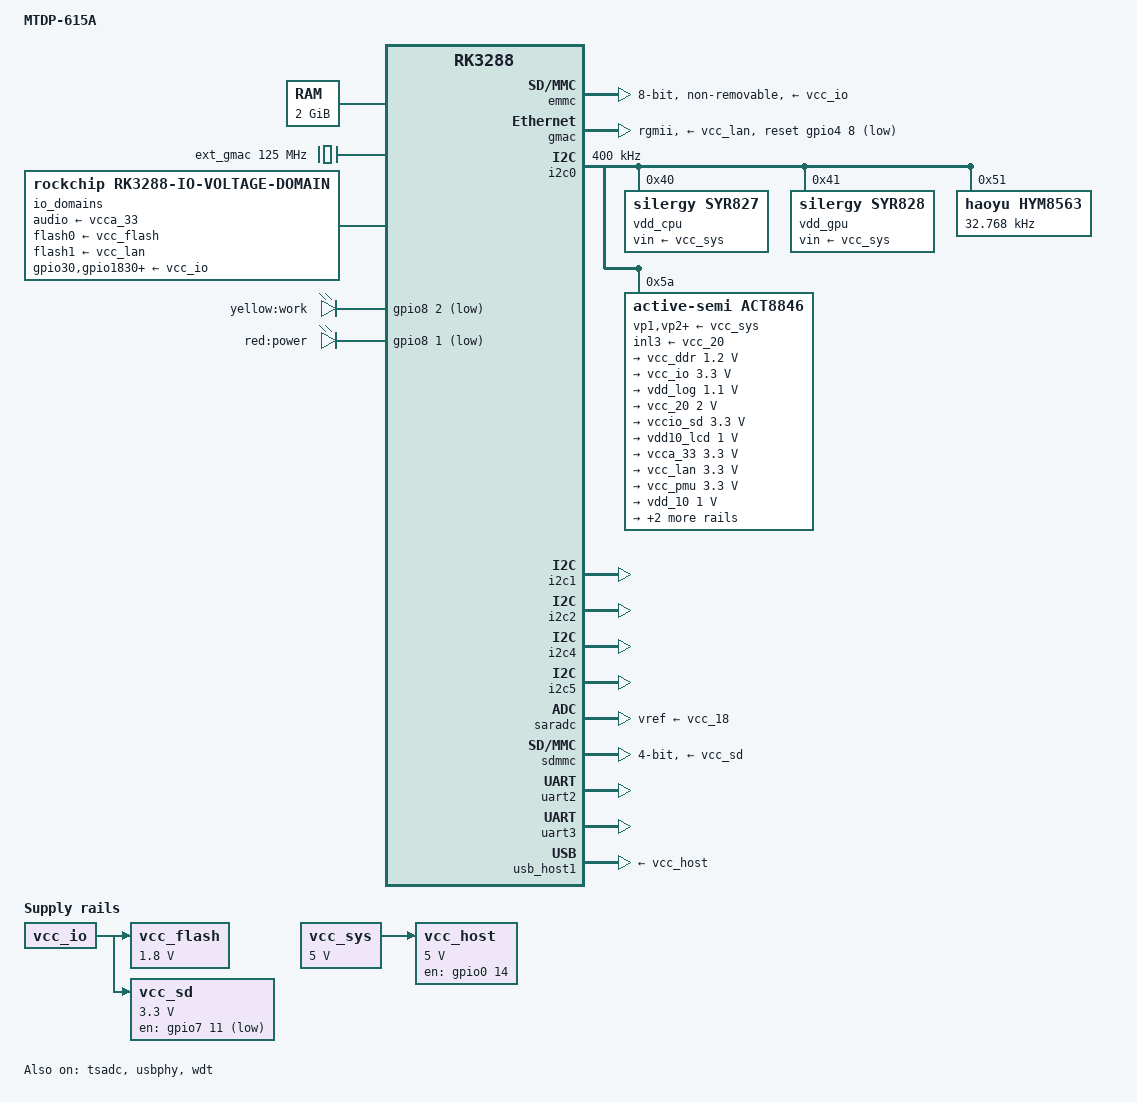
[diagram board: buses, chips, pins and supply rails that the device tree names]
// SPDX-License-Identifier: GPL-2.0+ OR X11

/dts-v1/;
#include "rk3288.dtsi"

/ {
	model = "MTDP-615A";
	compatible = "rockchip,rk3288";

	chosen {
		stdout-path = &uart2;
	};

	memory {
		reg = <0 0x80000000>;
	};

	ext_gmac: external-gmac-clock {
		compatible = "fixed-clock";
		#clock-cells = <0>;
		clock-frequency = <125000000>;
		clock-output-names = "ext_gmac";
	};

	io_domains: io-domains {
		compatible = "rockchip,rk3288-io-voltage-domain";
		rockchip,grf = <&grf>;

		audio-supply = <&vcca_33>;
		flash0-supply = <&vcc_flash>;
		flash1-supply = <&vcc_lan>;
		gpio30-supply = <&vcc_io>;
		gpio1830-supply = <&vcc_io>;
		lcdc-supply = <&vcc_io>;
		sdcard-supply = <&vccio_sd>;
		wifi-supply = <&vcc_18>;
	};

	leds {
		u-boot,dm-pre-reloc;
		compatible = "gpio-leds";

		work {
			u-boot,dm-pre-reloc;
			gpios = <&gpio8 2 GPIO_ACTIVE_LOW>;
			label = "yellow:work";
			linux,default-trigger = "rc-feedback";
			pinctrl-names = "default";
			pinctrl-0 = <&work_led>;
		};

		power {
			u-boot,dm-pre-reloc;
			gpios = <&gpio8 1 GPIO_ACTIVE_LOW>;
			label = "red:power";
			linux,default-trigger = "default-on";
			pinctrl-names = "default";
			pinctrl-0 = <&power_led>;
		};
	};

	vcc_flash: flash-regulator {
		compatible = "regulator-fixed";
		regulator-name = "vcc_flash";
		regulator-min-microvolt = <1800000>;
		regulator-max-microvolt = <1800000>;
		vin-supply = <&vcc_io>;
	};

	vcc_host: usb-host-regulator {
		compatible = "regulator-fixed";
		enable-active-high;
		gpio = <&gpio0 14 GPIO_ACTIVE_HIGH>;
		pinctrl-names = "default";
		pinctrl-0 = <&host_vbus_drv>;
		regulator-name = "vcc_host";
		regulator-min-microvolt = <5000000>;
		regulator-max-microvolt = <5000000>;
		regulator-always-on;
		vin-supply = <&vcc_sys>;
	};

	vcc_sd: sdmmc-regulator {
		compatible = "regulator-fixed";
		gpio = <&gpio7 11 GPIO_ACTIVE_LOW>;
		pinctrl-names = "default";
		pinctrl-0 = <&sdmmc_pwr>;
		regulator-name = "vcc_sd";
		regulator-min-microvolt = <3300000>;
		regulator-max-microvolt = <3300000>;
		startup-delay-us = <100000>;
		vin-supply = <&vcc_io>;
	};

	vcc_sys: vsys-regulator {
		compatible = "regulator-fixed";
		regulator-name = "vcc_sys";
		regulator-min-microvolt = <5000000>;
		regulator-max-microvolt = <5000000>;
		regulator-always-on;
		regulator-boot-on;
	};
};

&dmc {
	rockchip,pctl-timing = <0x29a 0xc8 0x1f8 0x42 0x4e 0x4 0xea 0xa
		0x5 0x0 0xa 0x7 0x19 0x24 0xa 0x7
		0x5 0xa 0x5 0x200 0x5 0x10 0x40 0x0
		0x1 0x7 0x7 0x4 0xc 0x43 0x100 0x0
		0x5 0x0>;
	rockchip,phy-timing = <0x48f9aab4 0xea0910 0x1002c200
		0xa60 0x40 0x10 0x0>;
	rockchip,sdram-params = <0x30B25564 0x627 3 666000000 3 9 1>;
};

&cpu0 {
	cpu0-supply = <&vdd_cpu>;
};

&emmc {
	bus-width = <8>;
	cap-mmc-highspeed;
	disable-wp;
	non-removable;
	num-slots = <1>;
	pinctrl-names = "default";
	pinctrl-0 = <&emmc_clk>, <&emmc_cmd>, <&emmc_pwr>, <&emmc_bus8>;
	vmmc-supply = <&vcc_io>;
	vqmmc-supply = <&vcc_flash>;
	status = "okay";
};

&gmac {
	assigned-clocks = <&cru SCLK_MAC>;
	assigned-clock-parents = <&ext_gmac>;
	clock_in_out = "input";
	pinctrl-names = "default";
	pinctrl-0 = <&rgmii_pins>, <&phy_rst>, <&phy_pmeb>, <&phy_int>;
	phy-supply = <&vcc_lan>;
	phy-mode = "rgmii";
	snps,reset-active-low;
	snps,reset-delays-us = <0 10000 1000000>;
	snps,reset-gpio = <&gpio4 8 GPIO_ACTIVE_LOW>;
	tx_delay = <0x30>;
	rx_delay = <0x10>;
	status = "okay";
};

&i2c0 {
	clock-frequency = <400000>;
	status = "okay";

	vdd_cpu: syr827@40 {
		compatible = "silergy,syr827";
		fcs,suspend-voltage-selector = <1>;
		reg = <0x40>;
		regulator-name = "vdd_cpu";
		regulator-min-microvolt = <850000>;
		regulator-max-microvolt = <1350000>;
		regulator-always-on;
		regulator-boot-on;
		regulator-enable-ramp-delay = <300>;
		regulator-ramp-delay = <8000>;
		vin-supply = <&vcc_sys>;
	};

	vdd_gpu: syr828@41 {
		compatible = "silergy,syr828";
		fcs,suspend-voltage-selector = <1>;
		reg = <0x41>;
		regulator-name = "vdd_gpu";
		regulator-min-microvolt = <850000>;
		regulator-max-microvolt = <1350000>;
		regulator-always-on;
		vin-supply = <&vcc_sys>;
	};

	hym8563: hym8563@51 {
		compatible = "haoyu,hym8563";
		reg = <0x51>;
		#clock-cells = <0>;
		clock-frequency = <32768>;
		clock-output-names = "xin32k";
	};

	act8846: act8846@5a {
		compatible = "active-semi,act8846";
		reg = <0x5a>;
		pinctrl-names = "default";
		pinctrl-0 = <&pmic_vsel>;
		system-power-controller;

		vp1-supply = <&vcc_sys>;
		vp2-supply = <&vcc_sys>;
		vp3-supply = <&vcc_sys>;
		vp4-supply = <&vcc_sys>;
		inl1-supply = <&vcc_sys>;
		inl2-supply = <&vcc_sys>;
		inl3-supply = <&vcc_20>;

		regulators {
			vcc_ddr: REG1 {
				regulator-name = "vcc_ddr";
				regulator-min-microvolt = <1200000>;
				regulator-max-microvolt = <1200000>;
				regulator-always-on;
			};

			vcc_io: REG2 {
				regulator-name = "vcc_io";
				regulator-min-microvolt = <3300000>;
				regulator-max-microvolt = <3300000>;
				regulator-always-on;
			};

			vdd_log: REG3 {
				regulator-name = "vdd_log";
				regulator-min-microvolt = <1100000>;
				regulator-max-microvolt = <1100000>;
				regulator-always-on;
			};

			vcc_20: REG4 {
				regulator-name = "vcc_20";
				regulator-min-microvolt = <2000000>;
				regulator-max-microvolt = <2000000>;
				regulator-always-on;
			};

			vccio_sd: REG5 {
				regulator-name = "vccio_sd";
				regulator-min-microvolt = <3300000>;
				regulator-max-microvolt = <3300000>;
				regulator-always-on;
			};

			vdd10_lcd: REG6 {
				regulator-name = "vdd10_lcd";
				regulator-min-microvolt = <1000000>;
				regulator-max-microvolt = <1000000>;
			};

			vcca_33: REG7 {
				regulator-name = "vcca_33";
				regulator-min-microvolt = <3300000>;
				regulator-max-microvolt = <3300000>;
			};

			vcc_lan: REG8 {
				regulator-name = "vcc_lan";
				regulator-min-microvolt = <3300000>;
				regulator-max-microvolt = <3300000>;
			};

			vcc_pmu: REG9 {
				regulator-name = "vcc_pmu";
				regulator-min-microvolt = <3300000>;
				regulator-max-microvolt = <3300000>;
			};

			vdd_10: REG10 {
				regulator-name = "vdd_10";
				regulator-min-microvolt = <1000000>;
				regulator-max-microvolt = <1000000>;
			};

			vcc_18: REG11 {
				regulator-name = "vcc_18";
				regulator-min-microvolt = <1800000>;
				regulator-max-microvolt = <1800000>;
			};

			vcc18_lcd: REG12 {
				regulator-name = "vcc_lcd";
				regulator-min-microvolt = <1800000>;
				regulator-max-microvolt = <1800000>;
			};
		};
	};
};

&i2c1 {
	status = "okay";
};

&i2c2 {
	status = "okay";
};

&i2c4 {
	status = "okay";
};

&i2c5 {
	status = "okay";
};

&pinctrl {
	pcfg_output_high: pcfg-output-high {
		output-high;
	};

	pcfg_output_low: pcfg-output-low {
		output-low;
	};

	pcfg_pull_up_drv_12ma: pcfg-pull-up-drv-12ma {
		bias-pull-up;
		drive-strength = <12>;
	};

	act8846 {
		pmic_int: pmic-int {
			rockchip,pins = <0 4 RK_FUNC_GPIO &pcfg_pull_up>;
		};

		pmic_sleep: pmic-sleep {
			rockchip,pins = <0 0 RK_FUNC_GPIO &pcfg_output_low>;
		};

		pmic_vsel: pmic-vsel {
			rockchip,pins = <7 14 RK_FUNC_GPIO &pcfg_output_low>;
		};
	};

	gmac {
		phy_int: phy-int {
			rockchip,pins = <0 9 RK_FUNC_GPIO &pcfg_pull_up>;
		};

		phy_pmeb: phy-pmeb {
			rockchip,pins = <0 8 RK_FUNC_GPIO &pcfg_pull_up>;
		};

		phy_rst: phy-rst {
			rockchip,pins = <4 8 RK_FUNC_GPIO &pcfg_output_high>;
		};
	};

	leds {
		power_led: power-led {
			rockchip,pins = <8 1 RK_FUNC_GPIO &pcfg_pull_none>;
		};

		work_led: work-led {
			rockchip,pins = <8 2 RK_FUNC_GPIO &pcfg_pull_none>;
		};
	};

	sdmmc {
		/*
		 * Default drive strength isn't enough to achieve even
		 * high-speed mode on firefly board so bump up to 12ma.
		 */
		sdmmc_bus4: sdmmc-bus4 {
			rockchip,pins = <6 16 RK_FUNC_1 &pcfg_pull_up_drv_12ma>,
					<6 17 RK_FUNC_1 &pcfg_pull_up_drv_12ma>,
					<6 18 RK_FUNC_1 &pcfg_pull_up_drv_12ma>,
					<6 19 RK_FUNC_1 &pcfg_pull_up_drv_12ma>;
		};

		sdmmc_clk: sdmmc-clk {
			rockchip,pins = <6 20 RK_FUNC_1 &pcfg_pull_none_12ma>;
		};

		sdmmc_cmd: sdmmc-cmd {
			rockchip,pins = <6 21 RK_FUNC_1 &pcfg_pull_up_drv_12ma>;
		};

		sdmmc_pwr: sdmmc-pwr {
			rockchip,pins = <7 11 RK_FUNC_GPIO &pcfg_pull_none>;
		};
	};

	usb_host {
		host_vbus_drv: host-vbus-drv {
			rockchip,pins = <0 14 RK_FUNC_GPIO &pcfg_pull_none>;
		};
	};
};

&saradc {
	vref-supply = <&vcc_18>;
	status = "okay";
};

&sdmmc {
	bus-width = <4>;
	cap-mmc-highspeed;
	cap-sd-highspeed;
	card-detect-delay = <200>;
	disable-wp;
	num-slots = <1>;
	pinctrl-names = "default";
	pinctrl-0 = <&sdmmc_clk>, <&sdmmc_cmd>, <&sdmmc_cd>, <&sdmmc_bus4>;
	vmmc-supply = <&vcc_sd>;
	vqmmc-supply = <&vccio_sd>;
	status = "okay";
};

&tsadc {
	rockchip,hw-tshut-mode = <0>;
	rockchip,hw-tshut-polarity = <0>;
	status = "okay";
};

&uart2 {
	status = "okay";
};

&uart3 {
	status = "okay";
};

&usbphy {
	status = "okay";
};

&usb_host1 {
	vbus-supply = <&vcc_host>;
	status = "okay";
};

&wdt {
	status = "okay";
};
